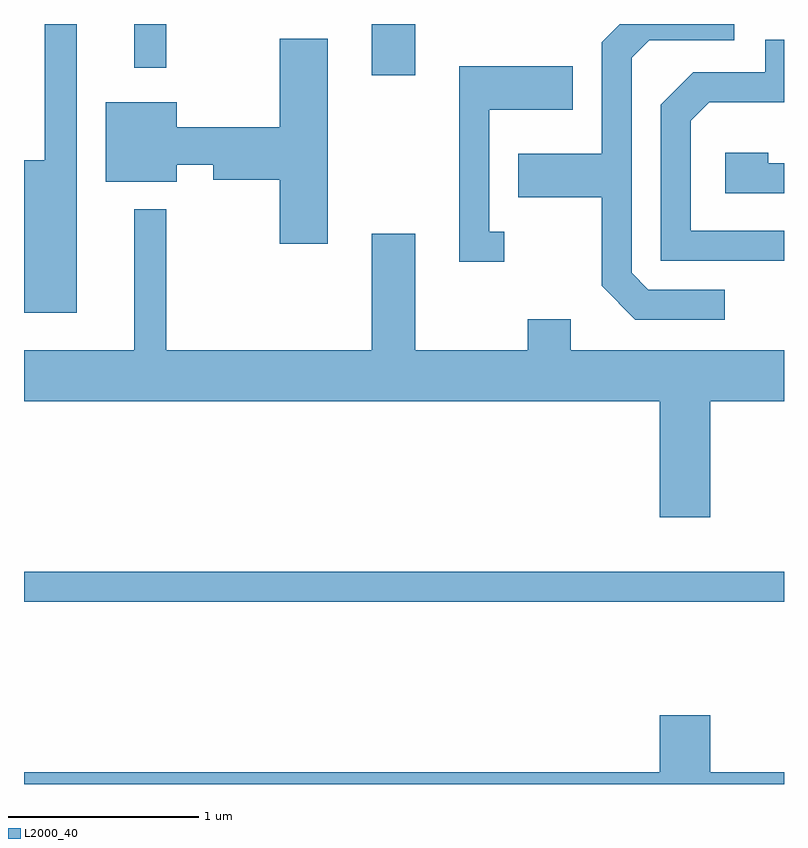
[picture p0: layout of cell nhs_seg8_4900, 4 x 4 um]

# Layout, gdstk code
import gdstk
lib = gdstk.Library(unit=1e-6, precision=1e-09)
def R(c, l, rs):  # rectangles x0, y0, x1, y1
    for r in rs: c.add(gdstk.rectangle(r[:2], r[2:], *l))
def P(c, l, *ps):  # polygons
    for p in ps: c.add(gdstk.Polygon(p, *l))
L2000_40 = (2000, 40)

nhs_seg8_4900 = lib.new_cell('nhs_seg8_4900')
R(nhs_seg8_4900, L2000_40, [(331.611,1895.301,335.611,1895.459), (333.441,1898.071,333.669,1898.342), (332.191,1898.113,332.359,1898.342)])
P(nhs_seg8_4900, L2000_40, [(331.889,1898.342),(331.721,1898.342),(331.721,1897.624),(331.611,1897.624),(331.611,1896.821),(331.889,1896.821)],
  [(335.298,1896.944),(334.897,1896.944),(334.809,1897.032),(334.809,1898.164),(334.902,1898.256),(335.348,1898.256),(335.348,1898.342),(334.747,1898.342),(334.651,1898.247),(334.651,1897.659),(334.211,1897.659),(334.211,1897.431),(334.651,1897.431),(334.651,1896.964),(334.829,1896.786),(335.298,1896.786)],
  [(333.209,1898.264),(332.956,1898.264),(332.956,1897.799),(332.414,1897.799),(332.414,1897.929),(332.041,1897.929),(332.041,1897.511),(332.414,1897.511),(332.414,1897.601),(332.606,1897.601),(332.606,1897.521),(332.956,1897.521),(332.956,1897.186),(333.209,1897.186)],
  [(335.611,1897.254),(335.119,1897.254),(335.119,1897.834),(335.217,1897.931),(335.611,1897.931),(335.611,1898.259),(335.511,1898.259),(335.511,1898.089),(335.134,1898.089),(334.961,1897.917),(334.961,1897.096),(335.611,1897.096)],
  [(334.138,1897.249),(334.059,1897.249),(334.059,1897.891),(334.499,1897.891),(334.499,1898.119),(333.901,1898.119),(333.901,1897.091),(334.138,1897.091)],
  [(335.611,1897.609),(335.529,1897.609),(335.529,1897.664),(335.301,1897.664),(335.301,1897.451),(335.611,1897.451)],
  [(335.224,1896.356),(335.611,1896.356),(335.611,1896.624),(334.489,1896.624),(334.489,1896.789),(334.261,1896.789),(334.261,1896.624),(333.669,1896.624),(333.669,1897.239),(333.441,1897.239),(333.441,1896.624),(332.359,1896.624),(332.359,1897.368),(332.191,1897.368),(332.191,1896.624),(331.611,1896.624),(331.611,1896.356),(334.956,1896.356),(334.956,1895.746),(335.224,1895.746)],
  [(335.611,1894.404),(335.224,1894.404),(335.224,1894.704),(334.956,1894.704),(334.956,1894.404),(331.611,1894.404),(331.611,1894.342),(335.611,1894.342)])

lib.write_gds('nhs_seg8_4900.gds')
